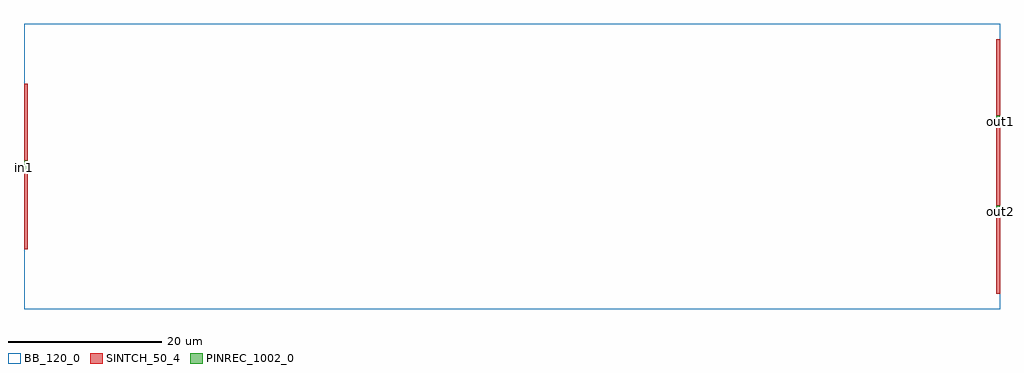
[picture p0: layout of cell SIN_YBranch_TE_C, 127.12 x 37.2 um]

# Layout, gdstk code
import gdstk
lib = gdstk.Library(unit=1e-6, precision=1e-09)
def R(c, l, rs):  # rectangles x0, y0, x1, y1
    for r in rs: c.add(gdstk.rectangle(r[:2], r[2:], *l))
SINTCH_50_4 = (50, 4)
BB_120_0 = (120, 0)
PINREC_1002_0 = (1002, 0)

sin_ybranch_te_c = lib.new_cell('SIN_YBranch_TE_C')
R(sin_ybranch_te_c, SINTCH_50_4, [(126.619,2,127.119,12), (0,7.85,0.5,17.85), (126.619,13.5,127.119,23.7), (0,19.35,0.5,29.35), (126.619,25.2,127.119,35.2)])
R(sin_ybranch_te_c, BB_120_0, [(0,0,127.119,37.2)])
R(sin_ybranch_te_c, PINREC_1002_0, [(126.619,12,127.119,13.5), (0,17.85,0.5,19.35), (126.619,23.7,127.119,25.2)])
sin_ybranch_te_c.add(gdstk.Label('out2', (127.119,12.752), layer=1000, texttype=0))
sin_ybranch_te_c.add(gdstk.Label('out1', (127.119,24.466), layer=1000, texttype=0))
sin_ybranch_te_c.add(gdstk.Label('in1', (0,18.499), layer=1000, texttype=0))

lib.write_gds('SIN_YBranch_TE_C.gds')
